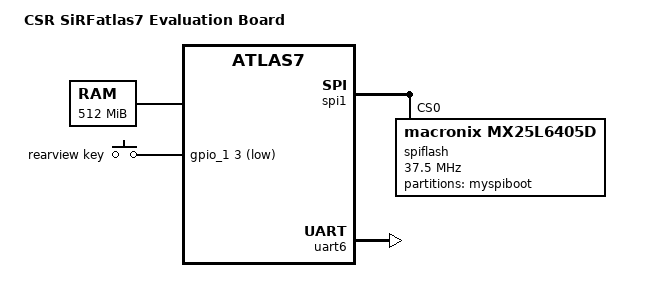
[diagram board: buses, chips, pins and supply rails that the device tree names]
// SPDX-License-Identifier: GPL-2.0-or-later
/*
 * DTS file for CSR SiRFatlas7 Evaluation Board
 *
 * Copyright (c) 2014 Cambridge Silicon Radio Limited, a CSR plc group company.
 */

/dts-v1/;

/include/ "atlas7.dtsi"

#include <dt-bindings/input/input.h>
#include <dt-bindings/gpio/gpio.h>

/ {
	model = "CSR SiRFatlas7 Evaluation Board";
	compatible = "sirf,atlas7-cb", "sirf,atlas7";

	chosen {
		bootargs = "console=ttySiRF1,115200 earlyprintk";
	};

	memory {
		device_type = "memory";
		reg = <0x40000000 0x20000000>;
	};

	reserved-memory {
		#address-cells = <1>;
		#size-cells = <1>;
		ranges;

		vpp_reserved: vpp_mem@5e800000 {
			compatible = "sirf,reserved-memory";
			reg = <0x5e800000 0x800000>;
		};

		nanddisk_reserved: nanddisk@46000000 {
			reg = <0x46000000 0x200000>;
			no-map;
		};
	};


	noc {
		mediam {
			nand@17050000 {
				memory-region = <&nanddisk_reserved>;
			};
		};

		gnssm {
			spi1: spi@18200000 {
				status = "okay";
				spiflash: macronix@0{
					status = "okay";
					compatible = "macronix,mx25l6405d";
					reg = <0>;
					spi-max-frequency = <37500000>;
					spi-cpha;
					spi-cpol;
					#address-cells = <1>;
					#size-cells = <1>;
					partitions@0 {
						label = "myspiboot";
						reg = <0x0 0x800000>;
					};
				};
			};
		};

		btm {
			uart6: uart@11000000 {
				status = "okay";
				uart-has-rtscts;
			};
		};

		disp-iobg {
			vpp@13110000 {
				memory-region = <&vpp_reserved>;
			};
		};

		display0: display@0 {
			compatible = "lvds-panel";
			source = "lvds.0";

			bl-gpios = <&gpio_1 63 0>;
			data-lines  = <24>;

			display-timings {
				native-mode = <&timing0>;
				timing0: timing0 {
					clock-frequency = <60000000>;
					hactive = <1024>;
					vactive = <600>;
					hfront-porch = <220>;
					hback-porch = <100>;
					hsync-len = <1>;
					vback-porch = <10>;
					vfront-porch = <25>;
					vsync-len = <1>;
					hsync-active = <0>;
					vsync-active = <0>;
					de-active = <1>;
					pixelclk-active = <1>;
				};
			};
		};

		gpio_keys {
			compatible = "gpio-keys";
			status = "okay";
			#address-cells = <1>;
			#size-cells = <0>;

			rearview_key {
				label = "rearview key";
				linux,code = <KEY_CAMERA>;
				gpios = <&gpio_1 3 GPIO_ACTIVE_LOW>;
				debounce_interval = <100>;
			};
		};

	};
};
